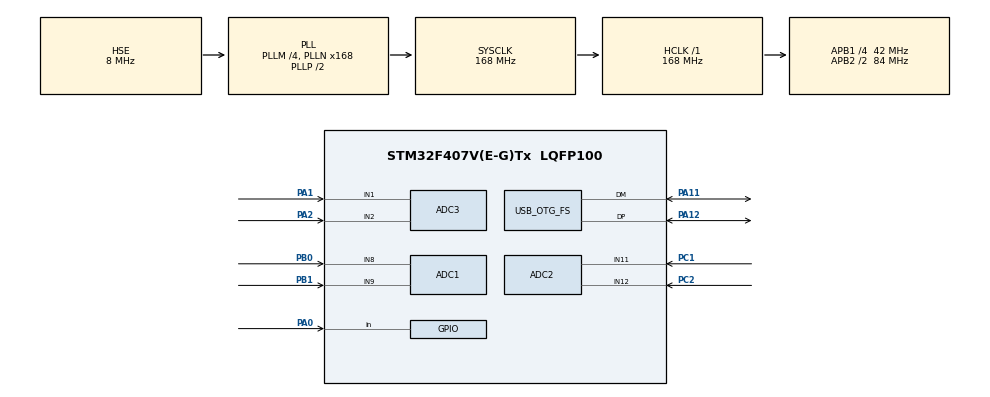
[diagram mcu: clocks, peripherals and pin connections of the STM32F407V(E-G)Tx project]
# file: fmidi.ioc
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ADC1.Channel-0\#ChannelRegularConversion=ADC_CHANNEL_8
ADC1.DMAContinuousRequests=ENABLE
ADC1.EOCSelection=ADC_EOC_SEQ_CONV
ADC1.ExternalTrigConv=ADC_EXTERNALTRIGCONV_T2_TRGO
ADC1.Mode=ADC_TRIPLEMODE_REGSIMULT
ADC1.NbrOfConversionFlag=1
ADC1.Rank-0\#ChannelRegularConversion=1
ADC1.SamplingTime-0\#ChannelRegularConversion=ADC_SAMPLETIME_3CYCLES
ADC1.master=1
ADC2.Channel-0\#ChannelRegularConversion=ADC_CHANNEL_11
ADC2.DMAContinuousRequests=ENABLE
ADC2.EOCSelection=ADC_EOC_SEQ_CONV
ADC2.Mode=ADC_TRIPLEMODE_REGSIMULT
ADC2.NbrOfConversionFlag=1
ADC2.Rank-0\#ChannelRegularConversion=1
ADC2.SamplingTime-0\#ChannelRegularConversion=ADC_SAMPLETIME_3CYCLES
ADC3.Channel-0\#ChannelRegularConversion=ADC_CHANNEL_1
ADC3.DMAContinuousRequests=ENABLE
ADC3.EOCSelection=ADC_EOC_SEQ_CONV
ADC3.Mode=ADC_TRIPLEMODE_REGSIMULT
ADC3.NbrOfConversionFlag=1
ADC3.Rank-0\#ChannelRegularConversion=1
ADC3.SamplingTime-0\#ChannelRegularConversion=ADC_SAMPLETIME_3CYCLES
Dma.ADC1.0.Direction=DMA_PERIPH_TO_MEMORY
Dma.ADC1.0.FIFOMode=DMA_FIFOMODE_DISABLE
Dma.ADC1.0.Instance=DMA2_Stream0
Dma.ADC1.0.MemDataAlignment=DMA_MDATAALIGN_HALFWORD
Dma.ADC1.0.MemInc=DMA_MINC_ENABLE
Dma.ADC1.0.Mode=DMA_CIRCULAR
Dma.ADC1.0.PeriphDataAlignment=DMA_PDATAALIGN_HALFWORD
Dma.ADC1.0.PeriphInc=DMA_PINC_DISABLE
Dma.ADC1.0.Priority=DMA_PRIORITY_LOW
Dma.ADC2.1.Direction=DMA_PERIPH_TO_MEMORY
Dma.ADC2.1.FIFOMode=DMA_FIFOMODE_DISABLE
Dma.ADC2.1.Instance=DMA2_Stream2
Dma.ADC2.1.MemDataAlignment=DMA_MDATAALIGN_HALFWORD
Dma.ADC2.1.MemInc=DMA_MINC_ENABLE
Dma.ADC2.1.Mode=DMA_CIRCULAR
Dma.ADC2.1.PeriphDataAlignment=DMA_PDATAALIGN_HALFWORD
Dma.ADC2.1.PeriphInc=DMA_PINC_DISABLE
Dma.ADC2.1.Priority=DMA_PRIORITY_LOW
Dma.ADC3.2.Direction=DMA_PERIPH_TO_MEMORY
Dma.ADC3.2.FIFOMode=DMA_FIFOMODE_DISABLE
Dma.ADC3.2.Instance=DMA2_Stream1
Dma.ADC3.2.MemDataAlignment=DMA_MDATAALIGN_HALFWORD
Dma.ADC3.2.MemInc=DMA_MINC_ENABLE
Dma.ADC3.2.Mode=DMA_CIRCULAR
Dma.ADC3.2.PeriphDataAlignment=DMA_PDATAALIGN_HALFWORD
Dma.ADC3.2.PeriphInc=DMA_PINC_DISABLE
Dma.ADC3.2.Priority=DMA_PRIORITY_LOW
Dma.Request0=ADC1
Dma.Request1=ADC2
Dma.Request2=ADC3
Mcu.Family=STM32F4
Mcu.Name=STM32F407V(E-G)Tx
Mcu.Package=LQFP100
NVIC.DMA2_Stream0_IRQn=true\:0\:0\:false\:false\:true\:false\:true
NVIC.DMA2_Stream1_IRQn=true\:0\:0\:false\:false\:true\:false\:true
NVIC.DMA2_Stream2_IRQn=true\:0\:0\:false\:false\:true\:false\:true
NVIC.OTG_FS_IRQn=true\:0\:0\:false\:false\:true\:true\:true
NVIC.PriorityGroup=NVIC_PRIORITYGROUP_4
PA0-WKUP.Signal=GPIO_Input
PA1.Signal=ADCx_IN1
PA11.Mode=Device_Only
PA11.Signal=USB_OTG_FS_DM
PA12.Mode=Device_Only
PA12.Signal=USB_OTG_FS_DP
PA2.Signal=ADCx_IN2
PB0.Signal=ADCx_IN8
PB1.Signal=ADCx_IN9
PC1.Signal=ADCx_IN11
PC2.Signal=ADCx_IN12
PH0-OSC_IN.Mode=HSE-External-Oscillator
PH0-OSC_IN.Signal=RCC_OSC_IN
PH1-OSC_OUT.Mode=HSE-External-Oscillator
PH1-OSC_OUT.Signal=RCC_OSC_OUT
ProjectManager.HeapSize=0x200
ProjectManager.StackSize=0x400
ProjectManager.TargetToolchain=STM32CubeIDE
RCC.48MHZClocksFreq_Value=48000000
RCC.AHBFreq_Value=168000000
RCC.APB1CLKDivider=RCC_HCLK_DIV4
RCC.APB1Freq_Value=42000000
RCC.APB1TimFreq_Value=84000000
RCC.APB2CLKDivider=RCC_HCLK_DIV2
RCC.APB2Freq_Value=84000000
RCC.APB2TimFreq_Value=168000000
RCC.CortexFreq_Value=168000000
RCC.HCLKFreq_Value=168000000
RCC.HSE_VALUE=8000000
RCC.HSI_VALUE=16000000
RCC.LSE_VALUE=32768
RCC.PLLM=4
RCC.PLLN=168
RCC.PLLQ=7
RCC.SYSCLKFreq_VALUE=168000000
RCC.SYSCLKSource=RCC_SYSCLKSOURCE_PLLCLK
RCC.VCOOutputFreq_Value=336000000
SH.ADCx_IN1.0=ADC3_IN1,IN1
SH.ADCx_IN11.0=ADC2_IN11,IN11
SH.ADCx_IN12.0=ADC2_IN12,IN12
SH.ADCx_IN2.0=ADC3_IN2,IN2
SH.ADCx_IN8.0=ADC1_IN8,IN8
SH.ADCx_IN9.0=ADC1_IN9,IN9
TIM2.ClockDivision=TIM_CLOCKDIVISION_DIV2
TIM2.Period=16000
TIM2.Prescaler=321
TIM2.TIM_MasterOutputTrigger=TIM_TRGO_UPDATE
USB_DEVICE.CLASS_NAME_FS=AUDIO
USB_DEVICE.VirtualMode-AUDIO_FS=Audio
USB_DEVICE.VirtualModeFS=Audio_FS
USB_OTG_FS.VirtualMode=Device_Only
VP_TIM2_VS_ClockSourceINT.Mode=Internal
VP_USB_DEVICE_VS_USB_DEVICE_AUDIO_FS.Mode=AUDIO_FS
board=custom

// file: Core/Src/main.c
/* USER CODE BEGIN Header */
/**
  ******************************************************************************
  * @file           : main.c
  * @brief          : Main program body
  ******************************************************************************
  * @attention
  *
  * <h2><center>&copy; Copyright (c) 2020 STMicroelectronics.
  * All rights reserved.</center></h2>
  *
  * This software component is licensed by ST under Ultimate Liberty license
  * SLA0044, the "License"; You may not use this file except in compliance with
  * the License. You may obtain a copy of the License at:
  *                             www.st.com/SLA0044
  *
  ******************************************************************************
  */
/* USER CODE END Header */

#include "main.h"
#include "usb_device.h"

/* USER CODE BEGIN Includes */
#include "usbd_audio_if.h"
/* USER CODE END Includes */

ADC_HandleTypeDef hadc1;
ADC_HandleTypeDef hadc2;
ADC_HandleTypeDef hadc3;
DMA_HandleTypeDef hdma_adc1;
DMA_HandleTypeDef hdma_adc2;
DMA_HandleTypeDef hdma_adc3;

TIM_HandleTypeDef htim2;

void SystemClock_Config(void);
static void MX_GPIO_Init(void);
static void MX_DMA_Init(void);
static void MX_ADC1_Init(void);
static void MX_ADC2_Init(void);
static void MX_ADC3_Init(void);
static void MX_TIM2_Init(void);

int main(void)
{

  /* MCU Configuration--------------------------------------------------------*/

  /* Reset of all peripherals, Initializes the Flash interface and the Systick. */
  HAL_Init();

  /* Configure the system clock */
  SystemClock_Config();

  /* Initialize all configured peripherals */
  MX_GPIO_Init();
  MX_DMA_Init();
  MX_USB_DEVICE_Init();
  MX_TIM2_Init();
  MX_ADC1_Init();
  MX_ADC2_Init();
  MX_ADC3_Init();

  /* Infinite loop */
  /* USER CODE BEGIN WHILE */
  uint8_t buttonPressFlag = 0;

  while (1)
  {
    /* USER CODE END WHILE */

    /* USER CODE BEGIN 3 */
	  if(HAL_GPIO_ReadPin(GPIOA, GPIO_PIN_0)== GPIO_PIN_SET)
	  {
		  if(buttonPressFlag==0)
		  {
			  buttonPressFlag = 1;
			  USBD_AddNoteOn(0, 0, 55, 55);
			  USBD_SendMidiMessages();
		  }
	  }
	  else
	  {
		  buttonPressFlag = 0;
	  }
  }
  /* USER CODE END 3 */
}

void SystemClock_Config(void)
{
  RCC_OscInitTypeDef RCC_OscInitStruct = {0};
  RCC_ClkInitTypeDef RCC_ClkInitStruct = {0};

  /** Configure the main internal regulator output voltage
  */
  __HAL_RCC_PWR_CLK_ENABLE();
  __HAL_PWR_VOLTAGESCALING_CONFIG(PWR_REGULATOR_VOLTAGE_SCALE1);
  /** Initializes the CPU, AHB and APB busses clocks
  */
  RCC_OscInitStruct.OscillatorType = RCC_OSCILLATORTYPE_HSE;
  RCC_OscInitStruct.HSEState = RCC_HSE_ON;
  RCC_OscInitStruct.PLL.PLLState = RCC_PLL_ON;
  RCC_OscInitStruct.PLL.PLLSource = RCC_PLLSOURCE_HSE;
  RCC_OscInitStruct.PLL.PLLM = 4;
  RCC_OscInitStruct.PLL.PLLN = 168;
  RCC_OscInitStruct.PLL.PLLP = RCC_PLLP_DIV2;
  RCC_OscInitStruct.PLL.PLLQ = 7;
  if (HAL_RCC_OscConfig(&RCC_OscInitStruct) != HAL_OK)
  {
    Error_Handler();
  }
  /** Initializes the CPU, AHB and APB busses clocks
  */
  RCC_ClkInitStruct.ClockType = RCC_CLOCKTYPE_HCLK|RCC_CLOCKTYPE_SYSCLK
                              |RCC_CLOCKTYPE_PCLK1|RCC_CLOCKTYPE_PCLK2;
  RCC_ClkInitStruct.SYSCLKSource = RCC_SYSCLKSOURCE_PLLCLK;
  RCC_ClkInitStruct.AHBCLKDivider = RCC_SYSCLK_DIV1;
  RCC_ClkInitStruct.APB1CLKDivider = RCC_HCLK_DIV4;
  RCC_ClkInitStruct.APB2CLKDivider = RCC_HCLK_DIV2;

  if (HAL_RCC_ClockConfig(&RCC_ClkInitStruct, FLASH_LATENCY_5) != HAL_OK)
  {
    Error_Handler();
  }
}

static void MX_ADC1_Init(void)
{

  /* USER CODE BEGIN ADC1_Init 0 */
  //ADC1->CR1 |= ADC_CR1_EOCIE;
  /* USER CODE END ADC1_Init 0 */

  //ADC_MultiModeTypeDef multimode = {0};
  ADC_ChannelConfTypeDef sConfig = {0};

  /* USER CODE BEGIN ADC1_Init 1 */
  HAL_NVIC_SetPriority(ADC_IRQn, 4, 0);
  HAL_NVIC_EnableIRQ(ADC_IRQn);
  /* USER CODE END ADC1_Init 1 */
  /** Configure the global features of the ADC (Clock, Resolution, Data Alignment and number of conversion)
  */
  hadc1.Instance = ADC1;
  hadc1.Init.ClockPrescaler = ADC_CLOCK_SYNC_PCLK_DIV4;
  hadc1.Init.Resolution = ADC_RESOLUTION_12B;
  hadc1.Init.ScanConvMode = ENABLE;
  hadc1.Init.ContinuousConvMode = DISABLE;
  hadc1.Init.DiscontinuousConvMode = DISABLE;
  hadc1.Init.ExternalTrigConvEdge = ADC_EXTERNALTRIGCONVEDGE_RISING;
  hadc1.Init.ExternalTrigConv = ADC_EXTERNALTRIGCONV_T2_TRGO;
  hadc1.Init.DataAlign = ADC_DATAALIGN_RIGHT;
  hadc1.Init.NbrOfConversion = 2;
  hadc1.Init.DMAContinuousRequests = ENABLE;
  hadc1.Init.EOCSelection = ADC_EOC_SEQ_CONV;
  if (HAL_ADC_Init(&hadc1) != HAL_OK)
  {
    Error_Handler();
  }
  /** Configure the ADC multi-mode
  */
//  multimode.Mode = ADC_TRIPLEMODE_REGSIMULT;
//  multimode.DMAAccessMode = ADC_DMAACCESSMODE_1;
//  multimode.TwoSamplingDelay = ADC_TWOSAMPLINGDELAY_5CYCLES;
//  if (HAL_ADCEx_MultiModeConfigChannel(&hadc1, &multimode) != HAL_OK)
//  {
//    Error_Handler();
//  }
  /** Configure for the selected ADC regular channel its corresponding rank in the sequencer and its sample time.
  */
  sConfig.Channel = ADC_CHANNEL_8;
  sConfig.Rank = 1;
  sConfig.SamplingTime = ADC_SAMPLETIME_3CYCLES;
  if (HAL_ADC_ConfigChannel(&hadc1, &sConfig) != HAL_OK)
  {
    Error_Handler();
  }

  sConfig.Channel = ADC_CHANNEL_9;
    sConfig.Rank = 2;
    sConfig.SamplingTime = ADC_SAMPLETIME_3CYCLES;
    if (HAL_ADC_ConfigChannel(&hadc1, &sConfig) != HAL_OK)
    {
      Error_Handler();
    }
  /* USER CODE BEGIN ADC1_Init 2 */
    ADC1->CR1 |= ADC_CR1_EOCIE;
  /* USER CODE END ADC1_Init 2 */

}

static void MX_ADC2_Init(void)
{

  ADC_ChannelConfTypeDef sConfig = {0};

  /** Configure the global features of the ADC (Clock, Resolution, Data Alignment and number of conversion)
  */
  hadc2.Instance = ADC2;
  hadc2.Init.ClockPrescaler = ADC_CLOCK_SYNC_PCLK_DIV4;
  hadc2.Init.Resolution = ADC_RESOLUTION_12B;
  hadc2.Init.ScanConvMode = ENABLE;
  hadc2.Init.ContinuousConvMode = DISABLE;
  hadc2.Init.DiscontinuousConvMode = DISABLE;
  hadc2.Init.ExternalTrigConvEdge = ADC_EXTERNALTRIGCONVEDGE_RISING;
  hadc2.Init.ExternalTrigConv = ADC_EXTERNALTRIGCONV_T2_TRGO;
  hadc2.Init.DataAlign = ADC_DATAALIGN_RIGHT;
  hadc2.Init.NbrOfConversion = 2;
  hadc2.Init.DMAContinuousRequests = ENABLE;
  hadc2.Init.EOCSelection = ADC_EOC_SEQ_CONV;
  if (HAL_ADC_Init(&hadc2) != HAL_OK)
  {
    Error_Handler();
  }
  /** Configure for the selected ADC regular channel its corresponding rank in the sequencer and its sample time.
  */
  sConfig.Channel = ADC_CHANNEL_11;
  sConfig.Rank = 1;
  sConfig.SamplingTime = ADC_SAMPLETIME_3CYCLES;
  if (HAL_ADC_ConfigChannel(&hadc2, &sConfig) != HAL_OK)
  {
    Error_Handler();
  }
  /* USER CODE BEGIN ADC2_Init 2 */
  sConfig.Channel = ADC_CHANNEL_12;
	sConfig.Rank =2;
	sConfig.SamplingTime = ADC_SAMPLETIME_3CYCLES;
	if (HAL_ADC_ConfigChannel(&hadc2, &sConfig) != HAL_OK)
	{
	  Error_Handler();
	}
  /* USER CODE END ADC2_Init 2 */

}

static void MX_ADC3_Init(void)
{

  ADC_ChannelConfTypeDef sConfig = {0};

  /** Configure the global features of the ADC (Clock, Resolution, Data Alignment and number of conversion)
  */
  hadc3.Instance = ADC3;
  hadc3.Init.ClockPrescaler = ADC_CLOCK_SYNC_PCLK_DIV4;
  hadc3.Init.Resolution = ADC_RESOLUTION_12B;
  hadc3.Init.ScanConvMode = ENABLE;
  hadc3.Init.ContinuousConvMode = DISABLE;
  hadc3.Init.DiscontinuousConvMode = DISABLE;
  hadc3.Init.ExternalTrigConvEdge = ADC_EXTERNALTRIGCONVEDGE_RISING;
  hadc3.Init.ExternalTrigConv = ADC_EXTERNALTRIGCONV_T2_TRGO;
  hadc3.Init.DataAlign = ADC_DATAALIGN_RIGHT;
  hadc3.Init.NbrOfConversion = 2;
  hadc3.Init.DMAContinuousRequests = ENABLE;
  hadc3.Init.EOCSelection = ADC_EOC_SEQ_CONV;
  if (HAL_ADC_Init(&hadc3) != HAL_OK)
  {
    Error_Handler();
  }
  /** Configure for the selected ADC regular channel its corresponding rank in the sequencer and its sample time.
  */
  sConfig.Channel = ADC_CHANNEL_1;
  sConfig.Rank = 2;
  sConfig.SamplingTime = ADC_SAMPLETIME_3CYCLES;
  if (HAL_ADC_ConfigChannel(&hadc3, &sConfig) != HAL_OK)
  {
    Error_Handler();
  }

  sConfig.Channel = ADC_CHANNEL_2;
  sConfig.Rank = 1;
  sConfig.SamplingTime = ADC_SAMPLETIME_3CYCLES;
  if (HAL_ADC_ConfigChannel(&hadc3, &sConfig) != HAL_OK)
  {
	Error_Handler();
  }

}

static void MX_TIM2_Init(void)
{

  TIM_ClockConfigTypeDef sClockSourceConfig = {0};
  TIM_MasterConfigTypeDef sMasterConfig = {0};

  htim2.Instance = TIM2;
  htim2.Init.Prescaler = 0xffff;
  htim2.Init.CounterMode = TIM_COUNTERMODE_UP;
  htim2.Init.Period = 0x1fff;
  htim2.Init.ClockDivision = TIM_CLOCKDIVISION_DIV2;
  htim2.Init.AutoReloadPreload = TIM_AUTORELOAD_PRELOAD_DISABLE;
  if (HAL_TIM_Base_Init(&htim2) != HAL_OK)
  {
    Error_Handler();
  }
  sClockSourceConfig.ClockSource = TIM_CLOCKSOURCE_INTERNAL;
  if (HAL_TIM_ConfigClockSource(&htim2, &sClockSourceConfig) != HAL_OK)
  {
    Error_Handler();
  }
  sMasterConfig.MasterOutputTrigger = TIM_TRGO_UPDATE;
  sMasterConfig.MasterSlaveMode = TIM_MASTERSLAVEMODE_DISABLE;
  if (HAL_TIMEx_MasterConfigSynchronization(&htim2, &sMasterConfig) != HAL_OK)
  {
    Error_Handler();
  }
  /* USER CODE BEGIN TIM2_Init 2 */
  HAL_TIM_Base_Start(&htim2);
  /* USER CODE END TIM2_Init 2 */

}

static void MX_DMA_Init(void)
{

  /* DMA controller clock enable */
  __HAL_RCC_DMA2_CLK_ENABLE();

  /* DMA interrupt init */
  /* DMA2_Stream0_IRQn interrupt configuration */
  HAL_NVIC_SetPriority(DMA2_Stream0_IRQn, 0, 0);
  HAL_NVIC_EnableIRQ(DMA2_Stream0_IRQn);
  /* DMA2_Stream1_IRQn interrupt configuration */
  HAL_NVIC_SetPriority(DMA2_Stream1_IRQn, 0, 0);
  HAL_NVIC_EnableIRQ(DMA2_Stream1_IRQn);
  /* DMA2_Stream2_IRQn interrupt configuration */
  HAL_NVIC_SetPriority(DMA2_Stream2_IRQn, 0, 0);
  HAL_NVIC_EnableIRQ(DMA2_Stream2_IRQn);

}

static void MX_GPIO_Init(void)
{
  GPIO_InitTypeDef GPIO_InitStruct = {0};

  /* GPIO Ports Clock Enable */
  __HAL_RCC_GPIOH_CLK_ENABLE();
  __HAL_RCC_GPIOC_CLK_ENABLE();
  __HAL_RCC_GPIOA_CLK_ENABLE();
  __HAL_RCC_GPIOB_CLK_ENABLE();

  /*Configure GPIO pin : PA0 */
  GPIO_InitStruct.Pin = GPIO_PIN_0;
  GPIO_InitStruct.Mode = GPIO_MODE_INPUT;
  GPIO_InitStruct.Pull = GPIO_NOPULL;
  HAL_GPIO_Init(GPIOA, &GPIO_InitStruct);

}

void Error_Handler(void)
{
}

/************************ (C) COPYRIGHT STMicroelectronics *****END OF FILE****/
